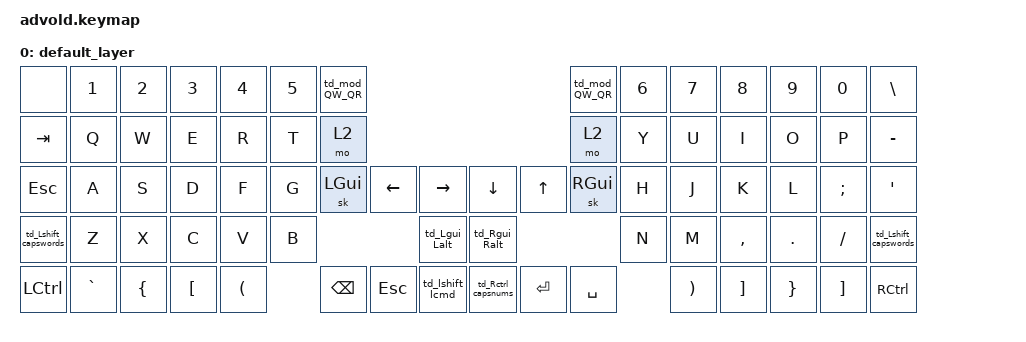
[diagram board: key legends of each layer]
/*
 * Copyright (c) 2020 The ZMK Contributors
 *
 * SPDX-License-Identifier: MIT
 */
/* THIS FILE WAS GENERATED!
 *
 * This file was generated automatically. You may or may not want to
 * edit it directly.
 */

#include <behaviors.dtsi>
#include <dt-bindings/zmk/backlight.h>
#include <dt-bindings/zmk/bt.h>
#include <dt-bindings/zmk/keys.h>
#include <dt-bindings/zmk/outputs.h>
#include <dt-bindings/zmk/rgb.h>

&caps_word {
};

&sk { quick-release; };

/ {
    behaviors {
        #include "macros.dtsi"
        #include "version.dtsi"

        hm: homerow_mods {
            label = "HOMEROW_MODS";

            // ====== dont edit ok

            compatible = "zmk,behavior-hold-tap";
            #binding-cells = <2>;

            // ====== timing properties

            tapping-term-ms = <200>; // hold time, this needs to be largest timing prop
            quick-tap-ms = <150>;
            require-prior-idle-ms = <0>; // prevent hold during fast typing (default = <0>)
            // ====== interupt flavor

            flavor = "tap-preferred";

            // ====== behavior bindings

            bindings = <&kp>, <&kp>;

            // ====== positional hold-tap
            //hold-trigger-key-positions = <1 2 3>; // default: not set 
            //hold-trigger-on-release; // default: not set (false)
            // ====== special behaviors
            //hold-while-undecided; // defaut: not set (false) | holds modifier immediately on press (bad for fast typing)
            //hold-while-undecided-linger; // defaut: not set (false) | continues hold during sticky key transition (no effect on typing speed)
            //retro-tap; // defaut: not set (false) | tap on release if not interupted
        };

        skq: sticky_key_quick_release {
            compatible = "zmk,behavior-sticky-key";
            #binding-cells = <1>;
            bindings = <&kp>;
            release-after-ms = <500>;
            /delete-property/ quick-release;
            ignore-modifiers;
        };

        skl: sticky_key_lazy {
            compatible = "zmk,behavior-sticky-key";
            #binding-cells = <1>;
            bindings = <&kp>;
            release-after-ms = <500>;
            /delete-property/ quick-release;
            lazy;
            ignore-modifiers;
        };

        hm_sk_ctrl: homerow_sk_ctrl {
            label = "HOMEROW_SK_CTRL";
            compatible = "zmk,behavior-hold-tap";
            #binding-cells = <2>;
            tapping-term-ms = <185>; // time to determine hold vs tap
            quick-tap-ms = <150>;
            require-prior-idle-ms = <0>; // prevent hold during fast typing (default = <0>)
            flavor = "tap-preferred"; // blanced = 
            bindings = <&mcskq_lctrl>, <&kp>;
        };

        hm_sk_gui: homerow_sk_gui {
            label = "HOMEROW_SK_GUI";
            compatible = "zmk,behavior-hold-tap";
            #binding-cells = <2>;
            tapping-term-ms = <175>; // time to determine hold vs tap
            quick-tap-ms = <150>;
            require-prior-idle-ms = <0>; // prevent hold during fast typing (default = <0>)
            flavor = "tap-preferred"; // 
            bindings = <&mcskq_lgui>, <&kp>;
        };

        hm_sk_shift: homerow_sk_shift {
            label = "HOMEROW_SK_SHIFT";
            compatible = "zmk,behavior-hold-tap";
            #binding-cells = <2>;
            tapping-term-ms = <185>; // time to determine hold vs tap
            quick-tap-ms = <150>;
            require-prior-idle-ms = <0>; // prevent hold during fast typing (default = <0>)
            flavor = "tap-preferred"; // blanced = 
            bindings = <&mcskq_lshift>, <&kp>;
        };

        hm_sk_alt: homerow_sk_alt {
            label = "HOMEROW_SK_ALT";
            compatible = "zmk,behavior-hold-tap";
            #binding-cells = <2>;
            tapping-term-ms = <185>; // time to determine hold vs tap
            quick-tap-ms = <150>;
            require-prior-idle-ms = <0>; // prevent hold during fast typing (default = <0>)
            flavor = "tap-preferred"; // blanced = 
            bindings = <&mcskq_lalt>, <&kp>;
        };

        hmskq61: hmskq61 {
            label = "HMSKQ61";
            compatible = "zmk,behavior-hold-tap";
            #binding-cells = <2>;
            tapping-term-ms = <185>; // time to determine hold vs tap
            quick-tap-ms = <150>;
            require-prior-idle-ms = <0>; // prevent hold during fast typing (default = <0>)
            flavor = "tap-preferred"; // blanced = 
            bindings = <&mcskq_lalt>, <&v61>;
        };

        v61: v61 {
            label = "V61";
            compatible = "zmk,behavior-mod-morph";
            bindings = <&kp GRAVE>, <&kp TILDE>;

            #binding-cells = <0>;
            mods = <(MOD_LSFT|MOD_RSFT)>;
        };

        hmskq62: hmskq62 {
            label = "HMSKQ62";
            compatible = "zmk,behavior-hold-tap";
            #binding-cells = <2>;
            tapping-term-ms = <185>; // time to determine hold vs tap
            quick-tap-ms = <150>;
            require-prior-idle-ms = <0>; // prevent hold during fast typing (default = <0>)
            flavor = "tap-preferred"; // blanced = 
            bindings = <&mcskq_lctrl>, <&v62>;
        };

        v62: v62 {
            label = "V62";
            compatible = "zmk,behavior-mod-morph";
            bindings = <&kp QUESTION>, <&kp AT>;

            #binding-cells = <0>;
            mods = <(MOD_LSFT|MOD_RSFT)>;
        };

        hmskq63: hmskq63 {
            label = "HMSKQ63";
            compatible = "zmk,behavior-hold-tap";
            #binding-cells = <2>;
            tapping-term-ms = <175>; // time to determine hold vs tap
            quick-tap-ms = <150>;
            require-prior-idle-ms = <0>; // prevent hold during fast typing (default = <0>)
            flavor = "tap-preferred"; // 
            bindings = <&mcskq_lgui>, <&v63>;
        };

        v63: v63 {
            compatible = "zmk,behavior-mod-morph";
            label = "V63";
            bindings = <&kp MINUS>, <&kp PERCENT>;

            #binding-cells = <0>;
            mods = <(MOD_LSFT|MOD_RSFT)>;
        };

        hmskq64: hmskq64 {
            label = "HMSKQ64";
            compatible = "zmk,behavior-hold-tap";
            #binding-cells = <2>;
            tapping-term-ms = <175>; // time to determine hold vs tap
            quick-tap-ms = <150>;
            require-prior-idle-ms = <0>; // prevent hold during fast typing (default = <0>)
            flavor = "tap-preferred"; // 
            bindings = <&mcskq_lshift>, <&v64>;
        };

        v64: v64 {
            compatible = "zmk,behavior-mod-morph";
            label = "V64";
            bindings = <&kp SLASH>, <&kp BACKSLASH>;

            #binding-cells = <0>;
            mods = <(MOD_LSFT|MOD_RSFT)>;
        };

        hmskq71: hmskq71 {
            label = "HMSKQ71";
            compatible = "zmk,behavior-hold-tap";
            #binding-cells = <2>;
            tapping-term-ms = <175>; // time to determine hold vs tap
            quick-tap-ms = <150>;
            require-prior-idle-ms = <0>; // prevent hold during fast typing (default = <0>)
            flavor = "tap-preferred"; // 
            bindings = <&mcskq_rshift>, <&v71>;
        };

        v71: v71 {
            compatible = "zmk,behavior-mod-morph";
            label = "V71";
            bindings = <&kp HASH>, <&kp BACKSLASH>;

            #binding-cells = <0>;
            mods = <(MOD_LSFT|MOD_RSFT)>;
        };

        hmskq72: hmskq72 {
            label = "HMSKQ72";
            compatible = "zmk,behavior-hold-tap";
            #binding-cells = <2>;
            tapping-term-ms = <175>; // time to determine hold vs tap
            quick-tap-ms = <150>;
            require-prior-idle-ms = <0>; // prevent hold during fast typing (default = <0>)
            flavor = "tap-preferred"; // 
            bindings = <&mcskq_rgui>, <&v72>;
            //bindings = <&skq RGUI>, <&v72>;
        };

        v72: v72 {
            label = "V72";
            compatible = "zmk,behavior-mod-morph";
            bindings = <&kp PIPE>, <&kp CARET>;

            #binding-cells = <0>;
            mods = <(MOD_LSFT|MOD_RSFT)>;
        };

        hmskq73: hmskq73 {
            label = "HMSKQ73";
            compatible = "zmk,behavior-hold-tap";
            #binding-cells = <2>;
            tapping-term-ms = <185>; // time to determine hold vs tap
            quick-tap-ms = <150>;
            require-prior-idle-ms = <0>; // prevent hold during fast typing (default = <0>)
            flavor = "tap-preferred"; // blanced = 
            bindings = <&mcskq_rctrl>, <&v73>;
            //bindings = <&skq RCTRL>, <&v73>;
        };

        v73: v73 {
            label = "V73";
            compatible = "zmk,behavior-mod-morph";
            bindings = <&kp AMPS>, <&kp DOLLAR>;

            #binding-cells = <0>;
            mods = <(MOD_LSFT|MOD_RSFT)>;
        };

        hmskq74: hmskq74 {
            label = "HMSKQ74";
            compatible = "zmk,behavior-hold-tap";
            #binding-cells = <2>;
            tapping-term-ms = <185>; // time to determine hold vs tap
            quick-tap-ms = <150>;
            require-prior-idle-ms = <0>; // prevent hold during fast typing (default = <0>)
            flavor = "tap-preferred"; // blanced = 
            bindings = <&mcskq_ralt>, <&v74>;
        };

        v74: v74 {
            label = "V74";
            compatible = "zmk,behavior-mod-morph";
            bindings = <&kp GRAVE>, <&kp TILDE>;

            #binding-cells = <0>;
            mods = <(MOD_LSFT|MOD_RSFT)>;
        };

        v_under_n1: v_under_n1 {
            compatible = "zmk,behavior-mod-morph";
            label = "V_UNDER_N1";
            bindings = <&kp UNDER>, <&kp N1>;

            #binding-cells = <0>;
            mods = <(MOD_RSFT|MOD_LSFT)>;
        };

        n_n1_under: n_n1_under {
            compatible = "zmk,behavior-mod-morph";
            label = "N_N1_UNDER";
            bindings = <&kp N1>, <&kp UNDER>;

            #binding-cells = <0>;
            mods = <(MOD_RSFT|MOD_LSFT)>;
        };

        v_eq_n2: v_eq_n2 {
            compatible = "zmk,behavior-mod-morph";
            label = "V_EQ_N2";
            bindings = <&kp EQUAL>, <&kp N2>;

            #binding-cells = <0>;
            mods = <(MOD_RSFT|MOD_LSFT)>;
        };

        n_n2_eq: n_n2_eq {
            compatible = "zmk,behavior-mod-morph";
            label = "N_N2_EQ";
            bindings = <&kp N2>, <&kp EQUAL>;

            #binding-cells = <0>;
            mods = <(MOD_RSFT|MOD_LSFT)>;
        };

        v_Lbrc_n3: v_Lbrc_n3 {
            compatible = "zmk,behavior-mod-morph";
            label = "V_LBRC_N3";
            bindings = <&kp LEFT_BRACE>, <&kp N3>;

            #binding-cells = <0>;
            mods = <(MOD_LSFT|MOD_RSFT)>;
        };

        n_n3_Lbrc: n_n3_Lbrc {
            compatible = "zmk,behavior-mod-morph";
            label = "N_N3_LBRC";
            bindings = <&kp N3>, <&kp LBRC>;

            #binding-cells = <0>;
            mods = <(MOD_LSFT|MOD_RSFT)>;
        };

        v_Lpar_n4: v_Lpar_n4 {
            compatible = "zmk,behavior-mod-morph";
            label = "V_LPAR_N4";
            bindings = <&kp LPAR>, <&kp N4>;

            #binding-cells = <0>;
            mods = <(MOD_LSFT|MOD_RSFT)>;
        };

        n_n4_Lpar: n_n4_Lpar {
            compatible = "zmk,behavior-mod-morph";
            label = "N_N4_LPAR";
            bindings = <&kp N4>, <&kp LPAR>;

            #binding-cells = <0>;
            mods = <(MOD_LSFT|MOD_RSFT)>;
        };

        v_Lbrk_n5: v_Lbrk_n5 {
            compatible = "zmk,behavior-mod-morph";
            label = "V_LBRK_N5";
            bindings = <&kp LEFT_BRACKET>, <&kp N5>;

            #binding-cells = <0>;
            mods = <(MOD_LSFT|MOD_RSFT)>;
        };

        n_n5_Lbrk: n_n5_Lbrk {
            compatible = "zmk,behavior-mod-morph";
            label = "N_N5_LBRK";
            bindings = <&kp N5>, <&kp LEFT_BRACKET>;

            #binding-cells = <0>;
            mods = <(MOD_LSFT|MOD_RSFT)>;
        };

        v_Rbrk_n6: v_Rbrk_n6 {
            compatible = "zmk,behavior-mod-morph";
            label = "V_RBRK_N6";
            bindings = <&kp RIGHT_BRACKET>, <&kp N6>;

            #binding-cells = <0>;
            mods = <(MOD_LSFT|MOD_RSFT)>;
        };

        n_n6_Rbrk: n_n6_Rbrk {
            compatible = "zmk,behavior-mod-morph";
            label = "N_N6_RBRK";
            bindings = <&kp N6>, <&kp RIGHT_BRACKET>;

            #binding-cells = <0>;
            mods = <(MOD_LSFT|MOD_RSFT)>;
        };

        v_Rpar_n7: v_Rpar_n7 {
            compatible = "zmk,behavior-mod-morph";
            label = "V_RPAR_N7";
            bindings = <&kp RPAR>, <&kp N7>;

            #binding-cells = <0>;
            mods = <(MOD_LSFT|MOD_RSFT)>;
        };

        n_n7_Rpar: n_n7_Rpar {
            compatible = "zmk,behavior-mod-morph";
            label = "N_N7_RPAR";
            bindings = <&kp N7>, <&kp RPAR>;

            #binding-cells = <0>;
            mods = <(MOD_LSFT|MOD_RSFT)>;
        };

        v_Rbrc_n8: v_Rbrc_n8 {
            compatible = "zmk,behavior-mod-morph";
            label = "V_RBRC_N8";
            bindings = <&kp RBRC>, <&kp N8>;

            #binding-cells = <0>;
            mods = <(MOD_LSFT|MOD_RSFT)>;
        };

        n_n8_Rbrc: n_n8_Rbrc {
            compatible = "zmk,behavior-mod-morph";
            label = "N_N8_RBRC";
            bindings = <&kp N8>, <&kp RBRC>;

            #binding-cells = <0>;
            mods = <(MOD_LSFT|MOD_RSFT)>;
        };

        v_colon_n9: v_colon_n9 {
            compatible = "zmk,behavior-mod-morph";
            label = "V_COLON_N9";
            bindings = <&kp COLON>, <&kp N9>;

            #binding-cells = <0>;
            mods = <(MOD_LSFT|MOD_RSFT)>;
        };

        n_n9_colon: n_n9_colon {
            compatible = "zmk,behavior-mod-morph";
            label = "N_N9_COLON";
            bindings = <&kp N9>, <&kp COLON>;

            #binding-cells = <0>;
            mods = <(MOD_LSFT|MOD_RSFT)>;
        };

        v_minus_n0: v_minus_n0 {
            compatible = "zmk,behavior-mod-morph";
            label = "V_MINUS_N0";
            bindings = <&kp MINUS>, <&kp N0>;

            #binding-cells = <0>;
            mods = <(MOD_LSFT|MOD_RSFT)>;
        };

        n_n0_minus: n_n0_minus {
            compatible = "zmk,behavior-mod-morph";
            label = "N_N0_MINUS";
            bindings = <&kp N0>, <&kp MINUS>;

            #binding-cells = <0>;
            mods = <(MOD_LSFT|MOD_RSFT)>;
        };

        v_pct_tilde: v_pct_tilde {
            compatible = "zmk,behavior-mod-morph";
            label = "V_PCT_TILDE";
            bindings = <&kp PERCENT>, <&kp TILDE>;

            #binding-cells = <0>;
            mods = <(MOD_LSFT|MOD_RSFT)>;
        };

        g_slash_less: g_slash_less {
            compatible = "zmk,behavior-mod-morph";
            label = "G_SLASH_LESS";
            bindings = <&kp SLASH>, <&kp LESS_THAN>;

            #binding-cells = <0>;
            mods = <(MOD_LSFT|MOD_RSFT)>;
        };

        g_comma_qmark: g_comma_qmark {
            compatible = "zmk,behavior-mod-morph";
            label = "G_COMMA_QMARK";
            bindings = <&kp COMMA>, <&kp QMARK>;

            #binding-cells = <0>;
            mods = <(MOD_LSFT|MOD_RSFT)>;
        };

        g_minus_dblq: g_minus_dblq {
            compatible = "zmk,behavior-mod-morph";
            label = "G_MINUS_DBLQ";
            bindings = <&kp MINUS>, <&kp DOUBLE_QUOTES>;

            #binding-cells = <0>;
            mods = <(MOD_LSFT|MOD_RSFT)>;
        };

        g_quote_under: g_quote_under {
            compatible = "zmk,behavior-mod-morph";
            label = "G_QUOTE_UNDER";
            bindings = <&kp SQT>, <&kp UNDER>;

            #binding-cells = <0>;
            mods = <(MOD_LSFT|MOD_RSFT)>;
        };

        td_nums_fn: td_nums_fn {
            compatible = "zmk,behavior-tap-dance";
            label = "TD_NUMS_FN";
            #binding-cells = <0>;
            bindings = <&tog 6>, <&sl 7>;
        };

        td_Lshift_capswords: td_Lshift_capswords {
            compatible = "zmk,behavior-tap-dance";
            label = "TD_LSHIFT_CAPSWORDS";
            #binding-cells = <0>;
            bindings = <&sk LSHIFT>, <&caps_word>;
        };

        td_Rshift_Ralt: td_Rshift_Ralt {
            compatible = "zmk,behavior-tap-dance";
            label = "TD_RSHIFT_RALT";
            #binding-cells = <0>;
            bindings = <&sk RSHIFT>, <&sk RALT>;
        };

        td_lshift_lcmd: td_lshift_lcmd {
            compatible = "zmk,behavior-tap-dance";
            label = "TD_LSHIFT_LCMD";
            #binding-cells = <0>;
            bindings = <&sk LSHIFT>, <&sk LGUI>;
        };

        td_Rctrl_capsnums: td_Rctrl_capsnums {
            compatible = "zmk,behavior-tap-dance";
            label = "TD_RCTRL_CAPSNUMS";
            #binding-cells = <0>;
            bindings = <&sk RCTRL>, <&tog 7>;
        };

        td_Lgui_Lalt: td_Lgui_Lalt {
            compatible = "zmk,behavior-tap-dance";
            label = "TD_LGUI_LALT";
            #binding-cells = <0>;
            bindings = <&sk LGUI>, <&sk LALT>;
        };

        td_Rgui_Ralt: td_Rgui_Ralt {
            compatible = "zmk,behavior-tap-dance";
            label = "TD_RGUI_RALT";
            #binding-cells = <0>;
            bindings = <&sk RGUI>, <&sk RALT>;
        };

        td_mod_QW_QR: td_mod_QW_QR {
            compatible = "zmk,behavior-tap-dance";
            label = "TD_MOD_QW_QR";
            #binding-cells = <0>;
            bindings = <&sl 8>, <&tog 5>, <&tog 6>;
        };

        td_caps_rcmd: td_caps_rcmd {
            compatible = "zmk,behavior-tap-dance";
            label = "TD_CAPS_RCMD";
            #binding-cells = <0>;
            bindings = <&caps_word>, <&sk RGUI>;
        };

        td_rshift_rcmd: td_rshift_rcmd {
            compatible = "zmk,behavior-tap-dance";
            label = "TD_RSHIFT_RCMD";
            #binding-cells = <0>;
            bindings = <&sk RSHIFT>, <&sk RGUI>;
        };

        td_tab_lcmd: td_tab_lcmd {
            compatible = "zmk,behavior-tap-dance";
            label = "TD_TAB_LCMD";
            #binding-cells = <0>;
            bindings = <&kp TAB>, <&sk LGUI>;
        };

        v_dqt_astrk: v_dqt_astrk {
            compatible = "zmk,behavior-mod-morph";
            label = "V_DQT_ASTRK";
            bindings = <&kp DOUBLE_QUOTES>, <&kp ASTRK>;

            #binding-cells = <0>;
            mods = <(MOD_LSFT|MOD_RSFT)>;
        };

        v_semi_semi: v_semi_semi {
            compatible = "zmk,behavior-mod-morph";
            label = "V_SEMI_SEMI";
            bindings = <&kp SEMI>, <&kp SEMI>;

            #binding-cells = <0>;
            mods = <(MOD_LSFT|MOD_RSFT)>;
        };

        v_semi_tilde: v_semi_tilde {
            compatible = "zmk,behavior-mod-morph";
            label = "V_SEMI_TILDE";
            bindings = <&kp SEMI>, <&kp TILDE>;

            #binding-cells = <0>;
            mods = <(MOD_LSFT|MOD_RSFT)>;
        };

        v_plus_n0: v_plus_n0 {
            compatible = "zmk,behavior-mod-morph";
            label = "V_PLUS_N0";
            bindings = <&kp PLUS>, <&kp N0>;

            #binding-cells = <0>;
            mods = <(MOD_LSFT|MOD_RSFT)>;
        };

        v_slash_bslash: v_slash_bslash {
            compatible = "zmk,behavior-mod-morph";
            label = "V_SLASH_BSLASH";
            bindings = <&kp SLASH>, <&kp BACKSLASH>;

            #binding-cells = <0>;
            mods = <(MOD_LSFT|MOD_RSFT)>;
        };

        ht_cmd_tdls: ht_cmd_tdls {
            compatible = "zmk,behavior-hold-tap";
            label = "HT_CMD_TDLS";
            bindings = <&kp>, <&td_Lshift_capswords>;

            #binding-cells = <2>;
            hold-trigger-key-positions = <13>;
            tapping-term-ms = <50>;
        };

        ht_cmd_vsqtsemi: ht_cmd_vsqtsemi {
            compatible = "zmk,behavior-hold-tap";
            label = "HT_CMD_VSQTSEMI";
            bindings = <&kp>, <&v_semi_semi>;

            #binding-cells = <2>;
            tapping-term-ms = <75>;
        };

        v_minus_excl: v_minus_excl {
            compatible = "zmk,behavior-mod-morph";
            label = "V_MINUS_EXCL";
            bindings = <&kp MINUS>, <&kp EXCL>;

            #binding-cells = <0>;
            mods = <(MOD_RSFT|MOD_LSFT)>;
        };

        n_n0_plus: n_n0_plus {
            compatible = "zmk,behavior-mod-morph";
            label = "N_N0_PLUS";
            bindings = <&kp N0>, <&kp PLUS>;

            #binding-cells = <0>;
            mods = <(MOD_LSFT|MOD_RSFT)>;
        };

        td_tab_mic: td_tab_mic {
            compatible = "zmk,behavior-tap-dance";
            label = "TD_TAB_MIC";
            #binding-cells = <0>;
            bindings = <&kp TAB>, <&mc_rcmdx2>;
        };

        ht_tab_mic_cmd: ht_tab_mic_cmd {
            compatible = "zmk,behavior-hold-tap";
            label = "HT_TAB_MIC_CMD";
            bindings = <&sk>, <&td_tab_mic>;

            #binding-cells = <2>;
            tapping-term-ms = <200>;
            hold-trigger-key-positions = <67 68>;
        };

        v_qmark_x: v_qmark_x {
            compatible = "zmk,behavior-mod-morph";
            label = "V_QMARK_X";
            bindings = <&kp QMARK>, <&kp SEMICOLON>;

            #binding-cells = <0>;
            mods = <(MOD_RSFT|MOD_LSFT)>;
        };

        htmod10t: htmod10t {
            label = "HTMOD10T";
            tapping-term-ms = <130>; // time to determine hold vs tap
            compatible = "zmk,behavior-hold-tap";
            #binding-cells = <2>;
            require-prior-idle-ms = <0>; // prevent hold during fast typing (default = <0>)
            flavor = "tap-preferred"; //
            bindings = <&sk>, <&v10>;
        };
        htmod11t: htmod11t {
            label = "HTMOD11T";
            tapping-term-ms = <130>; // time to determine hold vs tap
            compatible = "zmk,behavior-hold-tap";
            #binding-cells = <2>;
            require-prior-idle-ms = <0>; // prevent hold during fast typing (default = <0>)
            flavor = "tap-preferred"; //
            bindings = <&sk>, <&v11>;
        };
        htmod24t: htmod24t {
            label = "HTMOD24T";
            tapping-term-ms = <140>; // time to determine hold vs tap
            compatible = "zmk,behavior-hold-tap";
            #binding-cells = <2>;
            require-prior-idle-ms = <0>; // prevent hold during fast typing (default = <0>)
            flavor = "tap-preferred"; //
            bindings = <&sk>, <&kp>;
        };
        htmod25t: htmod25t {
            label = "HTMOD25T";
            tapping-term-ms = <140>; // time to determine hold vs tap
            compatible = "zmk,behavior-hold-tap";
            #binding-cells = <2>;
            require-prior-idle-ms = <0>; // prevent hold during fast typing (default = <0>)
            flavor = "tap-preferred"; //
            bindings = <&sk>, <&kp>;
        };
        htmod42t: htmod42t {
            label = "HTMOD42T";
            tapping-term-ms = <160>; // time to determine hold vs tap
            compatible = "zmk,behavior-hold-tap";
            #binding-cells = <2>;
            require-prior-idle-ms = <0>; // prevent hold during fast typing (default = <0>)
            flavor = "tap-preferred"; //
            bindings = <&sk>, <&kp>;
        };
        htmod43t: htmod43t {
            label = "HTMOD43T";
            tapping-term-ms = <160>; // time to determine hold vs tap
            compatible = "zmk,behavior-hold-tap";
            #binding-cells = <2>;
            require-prior-idle-ms = <0>; // prevent hold during fast typing (default = <0>)
            flavor = "tap-preferred"; //
            bindings = <&sk>, <&kp>;
        };
        htmod56t: htmod56t {
            label = "HTMOD56T";
            tapping-term-ms = <170>; // time to determine hold vs tap
            compatible = "zmk,behavior-hold-tap";
            #binding-cells = <2>;
            require-prior-idle-ms = <0>; // prevent hold during fast typing (default = <0>)
            flavor = "tap-preferred"; //
            bindings = <&sk>, <&kp>;
        };
        htmod57t: htmod57t {
            label = "HTMOD57T";
            tapping-term-ms = <170>; // time to determine hold vs tap
            compatible = "zmk,behavior-hold-tap";
            #binding-cells = <2>;
            require-prior-idle-ms = <0>; // prevent hold during fast typing (default = <0>)
            flavor = "tap-preferred"; //
            bindings = <&sk>, <&kp>;
        };
        htmod72t: htmod72t {
            label = "HTMOD72T";
            tapping-term-ms = <180>; // time to determine hold vs tap
            compatible = "zmk,behavior-hold-tap";
            #binding-cells = <2>;
            require-prior-idle-ms = <0>; // prevent hold during fast typing (default = <0>)
            flavor = "tap-preferred"; //
            bindings = <&sk>, <&v72>;
        };
        htmod73t: htmod73t {
            label = "HTMOD73T";
            tapping-term-ms = <180>; // time to determine hold vs tap
            compatible = "zmk,behavior-hold-tap";
            #binding-cells = <2>;
            require-prior-idle-ms = <0>; // prevent hold during fast typing (default = <0>)
            flavor = "tap-preferred"; //
            bindings = <&sk>, <&v72>;
        };

    };

    conditional_layers { compatible = "zmk,conditional-layers"; };

    combos {
        compatible = "zmk,combos";

        cb_df_shift {
            bindings = <&sk LSHIFT>;
            key-positions = <>;
            timeout-ms = <35>;
        };

        cb_comdot_up {
            bindings = <&kp UP>;
            key-positions = <56 57>;
            timeout-ms = <75>;
        };

        cb_m_down {
            bindings = <&kp DOWN>;
            key-positions = <55 56>;
            timeout-ms = <75>;
        };

        cb_cv_right {
            bindings = <&kp RIGHT>;
            key-positions = <49 50>;
            timeout-ms = <75>;
        };

        cb_xc_left {
            bindings = <&kp LEFT>;
            key-positions = <48 49>;
            timeout-ms = <75>;
        };

        cb_sdf_cmd-shift {
            bindings = <&sk LS(LGUI)>;
            key-positions = <30 31 32>;
            timeout-ms = <75>;
        };

        cb_er_tab {
            bindings = <&kp TAB>;
            key-positions = <>;
            timeout-ms = <75>;
        };

        cb_io_ctrl {
            bindings = <&sk RCTRL>;
            key-positions = <24 25>;
            timeout-ms = <75>;
        };

        cb_jk_rshift {
            bindings = <&sk RSHIFT>;
            key-positions = <>;
            timeout-ms = <35>;
        };

        cb_sd_lcmd {
            bindings = <&sk LCMD>;
            key-positions = <31 30>;
            timeout-ms = <25>;
        };

        cb_kl_rcmd {
            bindings = <&sk RGUI>;
            key-positions = <42 43>;
            timeout-ms = <35>;
        };

        cb_jkl_cmd-shift {
            bindings = <&sk RS(RGUI)>;
            key-positions = <41 42 43>;
            timeout-ms = <50>;
        };

        cb_wr_up {
            bindings = <&kp UP>;
            key-positions = <16 18>;
            timeout-ms = <75>;
        };

        cb_xv_down {
            bindings = <&kp DOWN>;
            key-positions = <48 50>;
            timeout-ms = <75>;
        };

        cb_we_rctrl {
            bindings = <&sk RCTRL>;
            key-positions = <16 17>;
            timeout-ms = <50>;
        };

        cb_wer_shft-ctrl {
            bindings = <&sk LC(LSHIFT)>;
            key-positions = <16 17 18>;
            timeout-ms = <75>;
        };

        cb_uio_shft-ctrl {
            bindings = <&sk RC(RSHIFT)>;
            key-positions = <23 24 25>;
            timeout-ms = <75>;
        };

        cb_62-63_lalt {
            bindings = <&sk LALT>;
            key-positions = <62 63>;
            timeout-ms = <75>;
        };

        cb_72-73_ralt {
            bindings = <&sk RALT>;
            key-positions = <72 73>;
            timeout-ms = <75>;
        };

        cb_r5l_spc {
            bindings = <&kp SPACE>;
            key-positions = <62 63 64>;
        };

        cb_r5r_spc {
            bindings = <&kp SPACE>;
            key-positions = <71 72 73>;
        };

        combo_r_10x11 {
            bindings = <&sk RG(RALT)>;
            key-positions = <>;
            timeout-ms = <30>;
            require-prior-idle-ms = <0>;
            layers = <4>;
        };

        combo_r_24x25 {
            bindings = <&sk RG(RALT)>;
            key-positions = <>;
            timeout-ms = <30>;
            require-prior-idle-ms = <0>;
            layers = <4>;
        };

        combo_r_42x43 {
            bindings = <&sk RG(RALT)>;
            key-positions = <>;
            timeout-ms = <30>;
            require-prior-idle-ms = <0>;
            layers = <4>;
        };

        combo_r_56x57 {
            bindings = <&sk RG(RALT)>;
            key-positions = <>;
            timeout-ms = <30>;
            require-prior-idle-ms = <0>;
            layers = <4>;
        };

        combo_r_62x63 {
            bindings = <&sk RG(RALT)>;
            key-positions = <>;
            timeout-ms = <30>;
            require-prior-idle-ms = <0>;
            layers = <4>;
        };

        combo_r_72x73 {
            bindings = <&sk RG(RALT)>;
            key-positions = <>;
            timeout-ms = <30>;
            require-prior-idle-ms = <0>;
            layers = <4>;
        };

    };

    macros {
        mcskq_lctrl: mcskq_lctrl {
            compatible = "zmk,behavior-macro";
            #binding-cells = <0>;
            bindings = <&skq LCTRL>;
        };

        mcskq_rctrl: mcskq_rctrl {
            compatible = "zmk,behavior-macro";
            #binding-cells = <0>;
            bindings = <&skq RCTRL>;
        };

        mcskq_lgui: mcskq_lgui {
            compatible = "zmk,behavior-macro";
            #binding-cells = <0>;
            bindings = <&skq LGUI>;
        };

        mcskq_rgui: mcskq_rgui {
            compatible = "zmk,behavior-macro";
            #binding-cells = <0>;
            bindings = <&skq RGUI>;
        };

        mcskq_lshift: mcskq_lshift {
            compatible = "zmk,behavior-macro";
            #binding-cells = <0>;
            bindings = <&skq LSHIFT>;
        };

        mcskq_rshift: mcskq_rshift {
            compatible = "zmk,behavior-macro";
            #binding-cells = <0>;
            bindings = <&skq RSHIFT>;
        };

        mcskq_lalt: mcskq_lalt {
            compatible = "zmk,behavior-macro";
            #binding-cells = <0>;
            bindings = <&skq LALT>;
        };

        mcskq_ralt: mcskq_ralt {
            compatible = "zmk,behavior-macro";
            #binding-cells = <0>;
            bindings = <&skq RALT>;
        };

        mc_rcmdx2: mc_rcmdx2 {
            compatible = "zmk,behavior-macro";
            #binding-cells = <0>;
            bindings = <&kp RGUI &kp RGUI>;
            label = "MC_RCMDX2";
        };

        mc_spc_shift: mc_spc_shift {
            compatible = "zmk,behavior-macro";
            #binding-cells = <0>;
            bindings = <&kp SPACE &sk RIGHT_SHIFT>;
            label = "MC_SPC_SHIFT";
        };
    };

    keymap {
        compatible = "zmk,keymap";

        default_layer {
            bindings = <
                &none                 &kp N1     &kp N2          &kp N3            &kp N4                &kp N5  &td_mod_QW_QR                                                                  &td_mod_QW_QR  &kp N6  &kp N7                 &kp N8             &kp N9           &kp N0    &kp BACKSLASH
                &kp TAB               &kp Q      &kp W           &kp E             &kp R                 &kp T   &mo 2                                                                          &mo 2          &kp Y   &kp U                  &kp I              &kp O            &kp P     &kp MINUS
                &kp ESC               &kp A      &kp S           &kp D             &kp F                 &kp G   &sk LGUI       &kp LEFT    &kp RIGHT            &kp DOWN            &kp UP     &sk RGUI       &kp H   &kp J                  &kp K              &kp L            &kp SEMI  &kp SQT
                &td_Lshift_capswords  &kp Z      &kp X           &kp C             &kp V                 &kp B                              &td_Lgui_Lalt        &td_Rgui_Ralt                                 &kp N   &kp M                  &kp COMMA          &kp DOT          &kp FSLH  &td_Lshift_capswords
                &kp LCTRL             &kp GRAVE  &kp LEFT_BRACE  &kp LEFT_BRACKET  &kp LEFT_PARENTHESIS          &kp BSPC       &kp ESCAPE  &td_lshift_lcmd      &td_Rctrl_capsnums  &kp ENTER  &kp SPACE              &kp RIGHT_PARENTHESIS  &kp RIGHT_BRACKET  &kp RIGHT_BRACE  &kp RBKT  &kp RCTRL
            >;


        layer_1 {
            bindings = <
                &trans  &trans  &trans  &trans  &trans  &trans  &trans                                      &trans  &trans  &trans  &trans  &trans  &trans  &trans
                &trans  &trans  &trans  &trans  &trans  &trans  &trans                                      &trans  &trans  &trans  &trans  &trans  &trans  &trans
                &trans  &trans  &trans  &trans  &trans  &trans  &trans  &trans  &trans      &trans  &trans  &trans  &trans  &trans  &trans  &trans  &trans  &trans
                &trans  &trans  &trans  &trans  &trans  &trans                  &trans      &trans                  &trans  &trans  &trans  &trans  &trans  &trans
                &trans  &trans  &trans  &trans  &trans  &trans          &trans  &trans  &trans      &trans  &trans  &trans          &trans  &trans  &trans  &trans  &trans
            >;
        };

        layer_2 {
            bindings = <
                &kp F11  &kp F1  &kp F2  &kp F3  &kp F4  &kp F5  &trans                                      &trans  &kp F6  &kp F7  &kp F8  &kp F9  &kp F10  &kp F12
                &trans   &trans  &trans  &trans  &trans  &trans  &trans                                      &trans  &trans  &trans  &trans  &trans  &trans   &trans
                &trans   &trans  &trans  &trans  &trans  &trans  &trans  &trans  &trans      &trans  &trans  &trans  &trans  &trans  &trans  &trans  &trans   &trans
                &trans   &trans  &trans  &trans  &trans  &trans                  &trans      &trans                  &trans  &trans  &trans  &trans  &trans   &trans
                &trans   &trans  &trans  &trans  &trans  &trans          &trans  &trans  &trans      &trans  &trans  &trans          &trans  &trans  &trans  &trans  &trans
            >;
        };

        layer_SHIFT {
            bindings = <
                &trans  &trans  &trans  &trans  &trans  &trans  &trans                                      &trans  &trans  &trans  &trans  &trans  &trans  &trans
                &trans  &trans  &trans  &trans  &trans  &trans  &trans                                      &trans  &trans  &trans  &trans  &trans  &trans  &trans
                &trans  &trans  &trans  &trans  &trans  &trans  &trans  &trans  &trans      &trans  &trans  &trans  &trans  &trans  &trans  &trans  &trans  &trans
                &trans  &trans  &trans  &trans  &trans  &trans                  &trans      &trans                  &trans  &trans  &trans  &trans  &trans  &trans
                &trans  &trans  &trans  &trans  &trans  &trans          &trans  &trans  &trans      &trans  &trans  &trans          &trans  &trans  &trans  &trans  &trans
            >;
        };

        L_nvimGR {
            bindings = <
                &kp GRAVE             &v_under_n1  &v_eq_n2       &v_Lbrc_n3  &v_Lpar_n4  &v_Lbrk_n5  &trans                                                                       &trans             &v_Rbrk_n6      &v_Rpar_n7    &v_Rbrc_n8  &v_colon_n9    &v_minus_n0    &none
                &kp ASTRK             &kp B        &kp L          &kp D       &kp W       &kp Z       &sl 7                                                                        &sl 7              &g_quote_under  &kp F         &kp O       &kp U          &kp J          &kp SEMI
                &kp DOUBLE_QUOTES     &kp N        &kp R          &kp T       &kp S       &kp G       &sk LEFT_COMMAND  &kp LEFT  &kp RIGHT             &kp DOWN           &kp UP  &sk RIGHT_COMMAND  &kp Y           &kp H         &kp A       &kp E          &kp I          &g_comma_qmark
                &td_Lshift_capswords  &kp Q        &kp X          &kp M       &kp C       &kp V                                   &sk LEFT_COMMAND      &sk RIGHT_COMMAND                             &kp K           &kp P         &kp DOT     &g_minus_dblq  &g_slash_less  &td_Rshift_Ralt
                &kp TAB               &kp EXCL     &kp BACKSLASH  &kp PLUS    &kp MINUS               &trans            &kp ESC   &sk LEFT_CONTROL      &sk RIGHT_CONTROL  &trans  &trans                             &v_pct_tilde  &v72        &v73           &kp AT         &td_nums_fn
            >;
        };

        L_nvimQW {
            bindings = <
                &v_plus_n0            &v_under_n1   &v_eq_n2      &v_Lbrc_n3    &v_Lpar_n4    &v_Lbrk_n5  &trans                                                                             &trans  &v_Rbrk_n6  &v_Rpar_n7    &v_Rbrc_n8    &v_colon_n9   &v_minus_n0   &mc_rcmdx2
                &kp EXCL              &kp Q         &kp W         &kp E         &kp R         &kp T       &none                                                                              &none   &kp Y       &kp U         &kp I         &kp O         &kp P         &sk LEFT_GUI
                &v_dqt_astrk          &kp A         &kp S         &kp D         &kp F         &kp G       &none   &kp LEFT  &kp RIGHT                        &kp DOWN                &kp UP  &none   &kp H       &kp J         &kp K         &kp L         &kp SQT       &kp SEMICOLON
                &td_Lshift_capswords  &kp Z         &kp X         &kp C         &kp V         &kp B                         &td_nums_fn                      &td_nums_fn                             &kp N       &kp M         &kp COMMA     &kp PERIOD    &v_qmark_x    &sk RSHIFT
                &v_semi_semi          &hmskq61 0 0  &hmskq62 0 0  &hmskq63 0 0  &hmskq64 0 0              &trans  &kp ESC   &ht_tab_mic_cmd RIGHT_GUI 0      &ht_tab_mic_cmd RGUI 0  &trans  &trans              &hmskq71 0 0  &hmskq72 0 0  &hmskq73 0 0  &hmskq74 0 0  &sk LG(RIGHT_SHIFT)
            >;
        };

        L_nvimNum {
            bindings = <
                &n_n0_plus  &n_n1_under  &n_n2_eq  &n_n3_Lbrc  &n_n4_Lpar  &n_n5_Lbrk  &trans                                      &trans  &n_n6_Rbrk  &n_n7_Rpar  &n_n8_Rbrc  &n_n9_colon  &n_n0_minus  &trans
                                &trans  &trans  &trans  &trans  &trans  &trans                  &trans      &trans                  &trans  &trans  &trans  &trans  &trans  &trans
                                &trans  &trans  &trans  &trans  &trans  &trans  &trans  &trans  &trans      &trans  &trans  &trans  &trans  &trans  &trans  &trans  &trans  &trans
                &trans      &trans       &trans    &trans      &trans      &trans                      &tog 6      &tog 6                  &trans      &trans      &trans      &trans       &trans       &trans
                                                &trans                  &trans  &trans  &trans  &trans  &trans  &trans          &trans  &trans  &trans      &trans  &trans  &trans          &trans  &trans  &trans  &trans  &trans  &trans  &trans
            >;
        };

        L_fn2 {
            bindings = <
                &kp F11  &kp F1  &kp F2  &kp F3  &kp F4  &kp F5  &trans                                      &trans  &kp F6  &kp F7  &kp F8  &kp F9  &kp F10  &kp F12
                &trans   &trans  &trans  &trans  &trans  &trans  &trans                                      &trans  &trans  &trans  &trans  &trans  &trans   &trans
                &trans   &trans  &trans  &trans  &trans  &trans  &trans  &trans  &trans      &trans  &trans  &trans  &trans  &trans  &trans  &trans  &trans   &trans
                &trans   &trans  &trans  &trans  &trans  &trans                  &trans      &trans                  &trans  &trans  &trans  &trans  &trans   &trans
                &trans   &trans  &trans  &trans  &trans  &trans          &trans  &trans  &trans      &trans  &trans  &trans          &trans  &trans  &trans  &trans  &trans
            >;
        };

        layer_mod {
            bindings = <
                &bootloader   &none         &none         &kp LC(UP_ARROW)  &kp LS(LG(N4))  &kp LG(LS(N5))  &trans                                            &trans           &bl BL_TOG  &kp C_MUTE  &kp C_VOL_DN  &kp C_VOL_UP  &none  &bootloader
                &none         &none         &none         &none             &none           &none           &none                                             &none            &none       &none       &none         &none         &none  &none
                &none         &none         &none         &none             &none           &none           &none   &none  &none      &none  &rgb_ug RGB_HUI  &none            &none       &none       &none         &none         &none  &none
                &none         &none         &none         &none             &trans          &none                          &none      &none                                    &none       &none       &none         &none         &none  &none
                &out OUT_USB  &bt BT_SEL 0  &bt BT_SEL 1  &bt BT_SEL 2      &none                           &none   &none  &none      &none  &bl BL_TOG       &rgb_ug RGB_TOG              &none       &none         &none         &none  &none
            >;
        };

        layer_9 {
            bindings = <
                &trans  &trans  &trans  &trans  &trans  &trans  &trans                                      &trans  &trans  &trans  &trans  &trans  &trans  &trans
                &trans  &trans  &trans  &trans  &trans  &trans  &trans                                      &trans  &trans  &trans  &trans  &trans  &trans  &trans
                &trans  &trans  &trans  &trans  &trans  &trans  &trans  &trans  &trans      &trans  &trans  &trans  &trans  &trans  &trans  &trans  &trans  &trans
                &trans  &trans  &trans  &trans  &trans  &trans                  &trans      &trans                  &trans  &trans  &trans  &trans  &trans  &trans
                &trans  &trans  &trans  &trans  &trans  &trans          &trans  &trans  &trans      &trans  &trans  &trans          &trans  &trans  &trans  &trans  &trans
            >;
        };
    };
};
